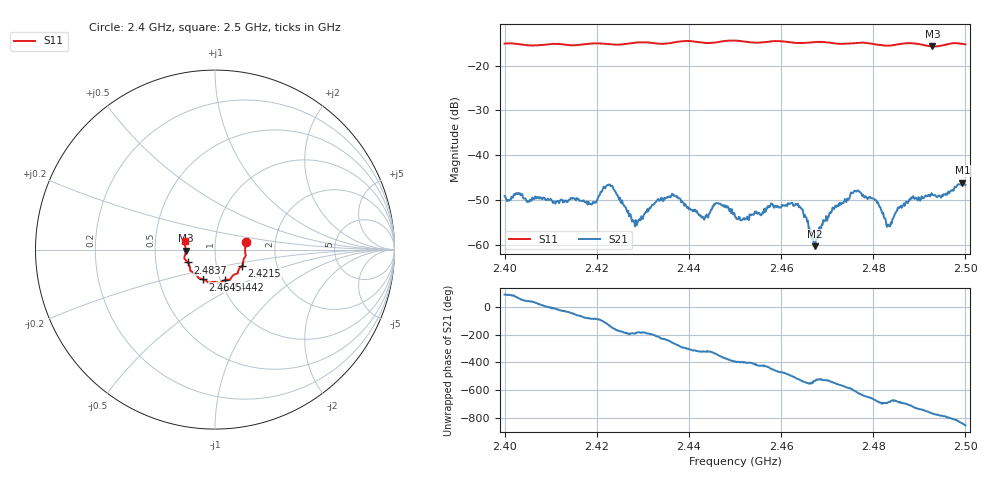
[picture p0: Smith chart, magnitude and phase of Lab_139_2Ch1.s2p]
# Hz S RI R 50
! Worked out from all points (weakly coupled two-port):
!   601 points, 2.4 GHz to 2.5 GHz, reference 50 ohm
!   highest |S21| = -46.12 dB at 2.4993 GHz (marker M1); lowest = -60.3 dB at 2.4673 GHz (marker M2)
!   lowest |S11| = -15.7 dB at 2.4928 GHz (marker M3), VSWR 1.39, Z = 36 - j0.373 ohm
!   |S11| at or under -10 dB: start of sweep to end of sweep
!   S12 and S22 are empty: the file has one direction only
!   S11 on the Smith chart (normalised r, x): 2.4 GHz: 1.41, +0.12; 2.4215 GHz: 1.33, -0.25; 2.4442 GHz: 1.05, -0.37; 2.4645 GHz: 0.83, -0.29; 2.4837 GHz: 0.73, -0.11; 2.5 GHz: 0.71, +0.07
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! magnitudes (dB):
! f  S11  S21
! 2.4 GHz  -15.1  -49.1
! 2.4167 GHz  -15.3  -50.2
! 2.4215 GHz  -15.1  -47.1
! 2.4233 GHz  -15.3  -46.8
! 2.4283 GHz  -14.9  -55.9
! 2.4333 GHz  -15.1  -49.7
! 2.4368 GHz  -14.8  -49.0
! 2.4442 GHz  -15.0  -53.9
! 2.4463 GHz  -14.7  -50.7
! 2.45 GHz  -14.4  -53.6
! 2.4645 GHz  -15.0  -52.0
! 2.4667 GHz  -14.8  -58.8
! 2.4673 GHz  -14.7  -60.3
! 2.471 GHz  -14.9  -52.5
! 2.4763 GHz  -14.9  -48.1
! 2.4805 GHz  -15.3  -50.0
! 2.4833 GHz  -15.6  -55.6
! 2.4837 GHz  -15.5  -55.9
! 2.4882 GHz  -15.0  -49.5
! 2.4928 GHz  -15.7  -48.9
! 2.4993 GHz  -15.1  -46.1
! 2.5 GHz  -15.3  -46.6
